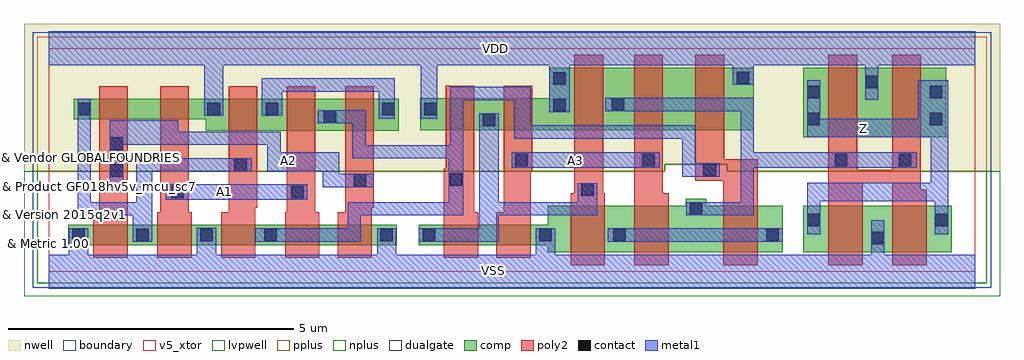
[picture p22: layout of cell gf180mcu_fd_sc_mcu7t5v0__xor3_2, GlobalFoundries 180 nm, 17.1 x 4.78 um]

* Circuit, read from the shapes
.subckt gf180mcu_fd_sc_mcu7t5v0__xor3_2 A1 A2 A3 VDD VSS Z
XM1 n1 A2 VSS VSUBS nfet_05v0 w=0.36u l=0.6u
XM2 VSS A1 n1 VSUBS nfet_05v0 w=0.36u l=0.6u
XM3 n2 n1 VSS VSUBS nfet_05v0 w=0.36u l=0.6u
XM4 n3 A1 n2 VSUBS nfet_05v0 w=0.36u l=0.6u
XM5 VSS A2 n3 VSUBS nfet_05v0 w=0.36u l=0.6u
XM6 n4 n2 n5 VSUBS nfet_05v0 w=0.36u l=0.6u
XM7 VSS A3 n4 VSUBS nfet_05v0 w=0.36u l=0.6u
XM8 n6 n5 VSS VSUBS nfet_05v0 w=0.82u l=0.6u
XM9 n7 A3 n6 VSUBS nfet_05v0 w=0.82u l=0.6u
XM10 n6 n2 n7 VSUBS nfet_05v0 w=0.82u l=0.6u
XM11 VSS n7 Z VSUBS nfet_05v0 w=0.82u l=0.6u m=2
XM12 n8 A2 n1 n9 pfet_05v0 w=0.36u l=0.5u
XM13 VDD A1 n8 n9 pfet_05v0 w=0.36u l=0.5u
XM14 n10 n1 VDD n9 pfet_05v0 w=0.56u l=0.5u
XM15 n2 A1 n10 n9 pfet_05v0 w=0.56u l=0.5u
XM16 n10 A2 n2 n9 pfet_05v0 w=0.56u l=0.5u
XM17 n5 n2 VDD n9 pfet_05v0 w=0.56u l=0.5u
XM18 VDD A3 n5 n9 pfet_05v0 w=0.56u l=0.5u
XM19 n7 n5 VDD n9 pfet_05v0 w=1.095u l=0.5u
XM20 n11 A3 n7 n9 pfet_05v0 w=1.095u l=0.5u
XM21 VDD n2 n11 n9 pfet_05v0 w=1.095u l=0.5u
XM22 VDD n7 Z n9 pfet_05v0 w=1.22u l=0.5u m=2
.ends

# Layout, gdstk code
import gdstk
lib = gdstk.Library(unit=1e-6, precision=1e-09)
def R(c, l, rs):  # rectangles x0, y0, x1, y1
    for r in rs: c.add(gdstk.rectangle(r[:2], r[2:], *l))
def A(c, l, x, y, w, h, nx, ny, dx, dy):  # array of equal rectangles
    R(c, l, [(x+i*dx, y+j*dy, x+i*dx+w, y+j*dy+h) for i in range(nx) for j in range(ny)])
def P(c, l, *ps):  # polygons
    for p in ps: c.add(gdstk.Polygon(p, *l))
boundary = (0, 0)
nwell = (21, 0)
comp = (22, 0)
poly2 = (30, 0)
pplus = (31, 0)
nplus = (32, 0)
contact = (33, 0)
metal1 = (34, 0)
dualgate = (55, 0)
v5_xtor = (112, 1)
lvpwell = (204, 0)

gf180mcu_fd_sc_mcu7t5v0_ = lib.new_cell('gf180mcu_fd_sc_mcu7t5v0__xor3_2')
R(gf180mcu_fd_sc_mcu7t5v0_, boundary, [(0,0,16.24,3.92)])
P(gf180mcu_fd_sc_mcu7t5v0_, nwell, [(-0.43,1.76),(-0.43,4.35),(16.67,4.35),(16.67,1.76),(11.895,1.76),(11.895,1.885),(10.795,1.885),(10.795,1.76)])
R(gf180mcu_fd_sc_mcu7t5v0_, comp, [(13.225,0.34,15.825,1.16), (0.345,0.465,6.105,0.825), (13.225,2.36,15.725,3.58)])
P(gf180mcu_fd_sc_mcu7t5v0_, comp, [(2.755,2.47),(2.755,2.67),(0.445,2.67),(0.445,3.03),(6.135,3.03),(6.135,2.47)],
  [(6.515,2.485),(6.515,3.045),(8.775,3.045),(8.775,3.58),(12.355,3.58),(12.355,2.485)],
  [(8.745,0.34),(8.745,0.465),(6.485,0.465),(6.485,0.825),(8.745,0.825),(8.745,1.16),(11.165,1.16),(11.165,1.285),(11.525,1.285),(11.525,1.16),(12.865,1.16),(12.865,0.34)])
P(gf180mcu_fd_sc_mcu7t5v0_, poly2, [(0.785,0.245),(0.785,1.045),(0.885,1.045),(0.885,3.255),(1.385,3.255),(1.385,0.245)],
  [(1.905,0.245),(1.905,1.045),(1.955,1.045),(1.955,3.255),(2.455,3.255),(2.455,1.045),(2.505,1.045),(2.505,0.245)],
  [(3.025,0.245),(3.025,1.045),(3.155,1.045),(3.155,3.255),(3.655,3.255),(3.655,1.125),(3.625,1.125),(3.625,0.245)],
  [(4.145,0.245),(4.145,1.045),(4.175,1.045),(4.175,3.255),(4.675,3.255),(4.675,1.045),(4.745,1.045),(4.745,0.245)],
  [(5.065,0.245),(5.065,1.045),(5.195,1.045),(5.195,3.255),(5.695,3.255),(5.695,1.125),(5.665,1.125),(5.665,0.245)],
  [(6.925,0.245),(6.925,1.81),(6.955,1.81),(6.955,3.265),(7.455,3.265),(7.455,1.045),(7.525,1.045),(7.525,0.245)],
  [(7.845,0.245),(7.845,1.045),(7.975,1.045),(7.975,3.265),(8.475,3.265),(8.475,1.77),(8.445,1.77),(8.445,0.245)],
  [(9.145,0.12),(9.145,1.38),(9.215,1.38),(9.215,3.8),(9.715,3.8),(9.715,1.38),(9.745,1.38),(9.745,0.12)],
  [(10.265,0.12),(10.265,3.8),(10.765,3.8),(10.765,1.38),(10.865,1.38),(10.865,0.12)],
  [(11.825,0.12),(11.825,1.595),(11.335,1.595),(11.335,3.8),(11.835,3.8),(11.835,1.975),(12.425,1.975),(12.425,0.12)],
  [(13.665,0.12),(13.665,3.8),(14.165,3.8),(14.165,1.785),(14.785,1.785),(14.785,3.8),(15.285,3.8),(15.285,1.44),(15.385,1.44),(15.385,0.12),(14.785,0.12),(14.785,1.555),(14.265,1.555),(14.265,0.12)])
P(gf180mcu_fd_sc_mcu7t5v0_, pplus, [(-0.2,1.76),(-0.2,4.12),(16.44,4.12),(16.44,1.76),(11.895,1.76),(11.895,1.885),(10.795,1.885),(10.795,1.76)])
P(gf180mcu_fd_sc_mcu7t5v0_, nplus, [(-0.2,-0.2),(-0.2,1.76),(10.795,1.76),(10.795,1.885),(11.895,1.885),(11.895,1.76),(16.44,1.76),(16.44,-0.2)])
A(gf180mcu_fd_sc_mcu7t5v0_, contact, 0.415, 0.535, 0.22, 0.22, 4, 1, 1.12, 0)
R(gf180mcu_fd_sc_mcu7t5v0_, contact, [(14.415,0.485,14.635,0.705), (5.815,0.535,6.035,0.755), (6.555,0.535,6.775,0.755), (8.595,0.535,8.815,0.755), (9.895,0.535,10.115,0.755), (12.575,0.535,12.795,0.755), (13.295,0.795,13.515,1.015), (15.535,0.795,15.755,1.015), (11.235,0.995,11.455,1.215), (2.15,1.29,2.37,1.51), (4.25,1.29,4.47,1.51), (9.33,1.33,9.55,1.55), (5.345,1.495,5.565,1.715), (7.03,1.51,7.25,1.73), (1.08,1.665,1.3,1.885), (11.475,1.675,11.695,1.895), (3.255,1.77,3.475,1.99), (8.175,1.85,8.395,2.07), (10.405,1.85,10.625,2.07), (13.775,1.85,13.995,2.07), (14.895,1.85,15.115,2.07), (1.08,2.135,1.3,2.355), (7.605,2.555,7.825,2.775), (13.295,2.57,13.515,2.79), (15.435,2.57,15.655,2.79), (4.825,2.61,5.045,2.83), (0.515,2.74,0.735,2.96), (2.785,2.74,3.005,2.96), (3.805,2.74,4.025,2.96), (5.845,2.74,6.065,2.96), (6.585,2.74,6.805,2.96), (8.845,2.81,9.065,3.03), (9.865,2.825,10.085,3.045), (13.295,3.04,13.515,3.26), (15.435,3.04,15.655,3.26), (14.315,3.22,14.535,3.44), (8.845,3.28,9.065,3.5), (12.06,3.29,12.28,3.51)])
R(gf180mcu_fd_sc_mcu7t5v0_, metal1, [(9.795,0.53,12.865,0.76), (2.05,1.265,4.535,1.535), (8.115,1.825,10.71,2.095)])
P(gf180mcu_fd_sc_mcu7t5v0_, metal1, [(1.475,0.53),(1.475,0.99),(0.51,0.99),(0.51,3.03),(0.74,3.03),(0.74,1.22),(1.535,1.22),(1.535,1.995),(3.56,1.995),(3.56,1.765),(1.815,1.765),(1.815,0.53)],
  [(4.8,1.485),(4.8,1.765),(3.835,1.765),(3.835,2.225),(1.305,2.225),(1.305,1.49),(1.075,1.49),(1.075,2.66),(2.275,2.66),(2.275,2.455),(4.065,2.455),(4.065,2.095),(5.095,2.095),(5.095,1.72),(5.695,1.72),(5.695,1.485)],
  [(5.785,2.68),(5.785,3.16),(4.095,3.16),(4.095,2.735),(3.735,2.735),(3.735,3.39),(6.07,3.39),(6.07,2.68)],
  [(6.485,0.53),(6.485,0.76),(7.545,0.76),(7.545,2.78),(7.885,2.78),(7.885,1.22),(9.27,1.22),(9.27,1.555),(9.61,1.555),(9.61,0.99),(7.885,0.99),(7.885,0.53)],
  [(3.625,0.53),(3.625,0.76),(5.24,0.76),(5.24,1.22),(7.01,1.22),(7.01,1.99),(5.325,1.99),(5.325,2.605),(4.72,2.605),(4.72,2.835),(5.555,2.835),(5.555,2.22),(7.04,2.22),(7.04,3.24),(8.445,3.24),(8.445,2.565),(11.335,2.565),(11.335,1.9),(11.76,1.9),(11.76,1.67),(11.105,1.67),(11.105,2.33),(8.16,2.33),(8.16,3.01),(7.27,3.01),(7.27,0.99),(5.47,0.99),(5.47,0.53)],
  [(11.17,0.99),(11.17,1.22),(12.125,1.22),(12.125,2.815),(9.75,2.815),(9.75,3.05),(12.355,3.05),(12.355,2.095),(15.21,2.095),(15.21,1.825),(12.355,1.825),(12.355,0.99)],
  [(13.29,0.655),(13.29,1.56),(15.46,1.56),(15.46,2.36),(13.29,2.36),(13.29,3.36),(13.52,3.36),(13.52,2.68),(15.24,2.68),(15.24,3.36),(15.76,3.36),(15.76,0.655),(15.53,0.655),(15.53,1.24),(13.52,1.24),(13.52,0.655)],
  [(0,-0.3),(0,0.3),(0.355,0.3),(0.355,0.76),(0.695,0.76),(0.695,0.3),(2.595,0.3),(2.595,0.775),(2.935,0.775),(2.935,0.3),(5.755,0.3),(5.755,0.76),(6.095,0.76),(6.095,0.3),(8.535,0.3),(8.535,0.76),(8.88,0.76),(8.88,0.3),(14.41,0.3),(14.41,0.905),(14.64,0.905),(14.64,0.3),(16.24,0.3),(16.24,-0.3)],
  [(6.525,2.68),(6.525,3.62),(3.065,3.62),(3.065,2.735),(2.725,2.735),(2.725,3.62),(0,3.62),(0,4.22),(16.24,4.22),(16.24,3.62),(14.54,3.62),(14.54,3.015),(14.31,3.015),(14.31,3.62),(12.355,3.62),(12.355,3.28),(11.99,3.28),(11.99,3.62),(9.135,3.62),(9.135,2.795),(8.775,2.795),(8.775,3.62),(6.81,3.62),(6.81,2.68)])
R(gf180mcu_fd_sc_mcu7t5v0_, dualgate, [(-0.28,-0.28,16.52,4.2)])
R(gf180mcu_fd_sc_mcu7t5v0_, v5_xtor, [(0,0,16.24,3.92)])
P(gf180mcu_fd_sc_mcu7t5v0_, lvpwell, [(-0.43,-0.43),(-0.43,1.76),(10.795,1.76),(10.795,1.885),(11.895,1.885),(11.895,1.76),(16.67,1.76),(16.67,-0.43)])
gf180mcu_fd_sc_mcu7t5v0_.add(gdstk.Label('A3', (9.24,1.96), layer=34, texttype=10))
gf180mcu_fd_sc_mcu7t5v0_.add(gdstk.Label('VDD', (7.835,3.915), layer=34, texttype=10))
gf180mcu_fd_sc_mcu7t5v0_.add(gdstk.Label('VSS', (7.79,0.02), layer=34, texttype=10))
gf180mcu_fd_sc_mcu7t5v0_.add(gdstk.Label('Z', (14.28,2.52), layer=34, texttype=10))
gf180mcu_fd_sc_mcu7t5v0_.add(gdstk.Label('A1', (3.08,1.4), layer=34, texttype=10))
gf180mcu_fd_sc_mcu7t5v0_.add(gdstk.Label('A2', (4.2,1.96), layer=34, texttype=10))
gf180mcu_fd_sc_mcu7t5v0_.add(gdstk.Label('& Vendor GLOBALFOUNDRIES', (0,2), layer=63, texttype=63))
gf180mcu_fd_sc_mcu7t5v0_.add(gdstk.Label('& Product GF018hv5v_mcu_sc7', (0,1.5), layer=63, texttype=63))
gf180mcu_fd_sc_mcu7t5v0_.add(gdstk.Label('& Version 2015q2v1', (0,1), layer=63, texttype=63))
gf180mcu_fd_sc_mcu7t5v0_.add(gdstk.Label('& Metric 1.00', (0,0.5), layer=63, texttype=63))

lib.write_gds('gf180mcu_fd_sc_mcu7t5v0__xor3_2.gds')
